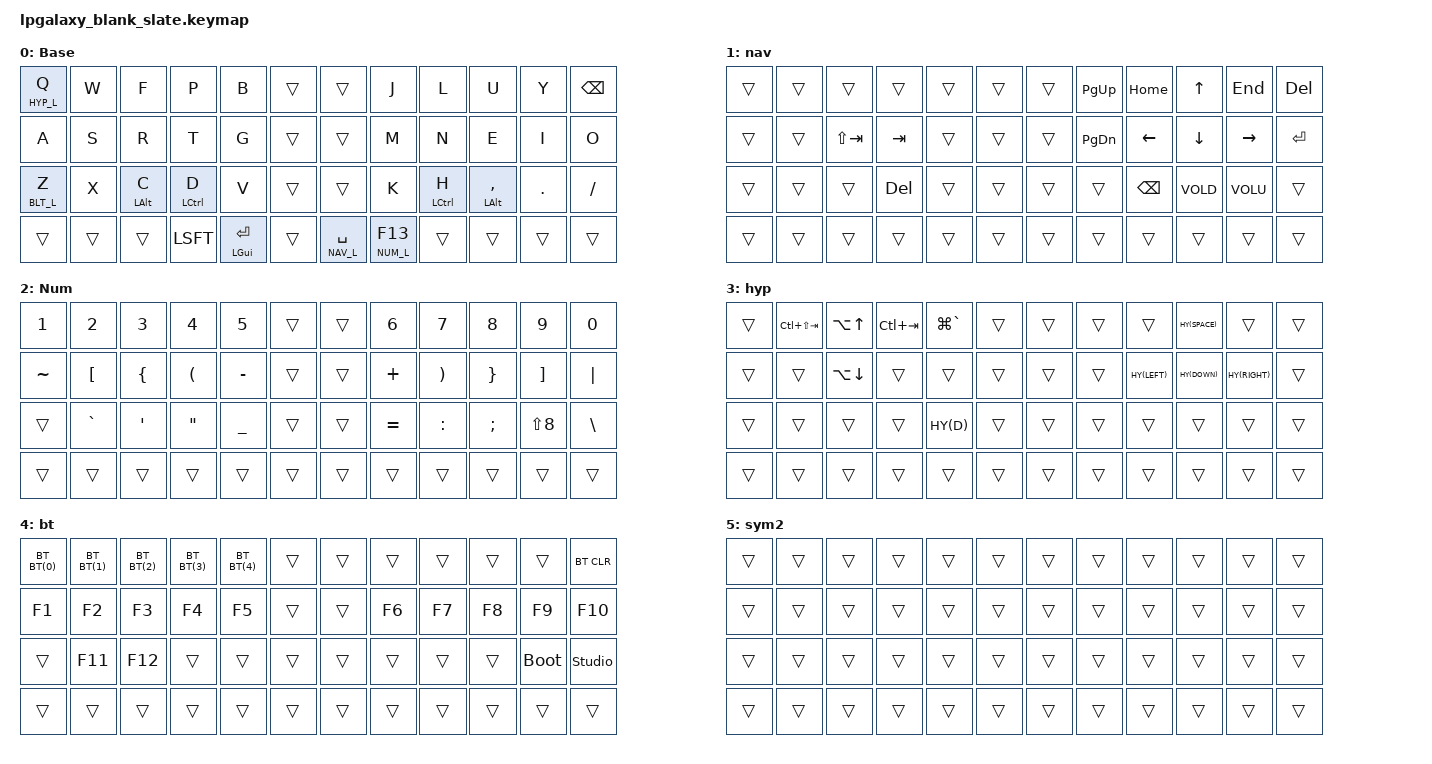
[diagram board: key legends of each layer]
/*
 *
 * TOMS KEYMAP

# https://github.com/pandrr/blank-slate-zmk-config

 */

#include <behaviors.dtsi>
#include <dt-bindings/zmk/keys.h>
#include <dt-bindings/zmk/bt.h>
#include <dt-bindings/zmk/outputs.h>

//#define TBLE_ORTHO   1
#define TBLE_MIT     1
//#define TBLE_DUAL_2U 1

#define NAV_L 1
#define NUM_L 2
#define HYP_L 3
#define BLT_L 4

// Using layer taps on thumbs, having quick tap as well helps w/ repeating space/backspace
&lt { 
    quick_tap_ms = <150>; 
    tapping-term-ms = <200>; 
    require-prior-idle-ms = <125>;
    flavor = "hold-preferred";
};
&mt { 
    quick_tap_ms = <150>; 
    tapping-term-ms = <200>; 
    require-prior-idle-ms = <125>;
    flavor = "hold-preferred";
};

#define BT(n) BT_SEL n
#define HY(k) LG(LC(LA(LS(k))))  

/ {


    combos {
        compatible = "zmk,combos";
        combo_tab {
            timeout-ms = <50>;
            key-positions = <1 3>;
            bindings = <&kp TAB>;
        };
        combo_esc {
            timeout-ms = <50>;
            key-positions = <2 3>;
            bindings = <&kp ESC>;
        };
        combo_lgui_lalt {
            timeout-ms = <50>;
            key-positions = <8 31>;
            bindings = <&sk LG(LALT)>;
        };
        combo_lgui_lsft {
            timeout-ms = <50>;
            key-positions = <8 19>;
            bindings = <&sk LG(LSFT)>;
        };
    };


    chosen {
        zmk,physical-layout =
            #ifdef TBLE_DUAL_2U
               &layout_ortho_4x12_2x2u;
            #elif defined(TBLE_MIT)
               &layout_ortho_4x12_1x2u;
            #else
               &layout_ortho_4x12_all1u;
            #endif
    };

    



    keymap {
        compatible = "zmk,keymap";

        base_layer {
            label = "Base";
            bindings = <

            &lt HYP_L Q  &kp W   &kp F   &kp P         &kp B          &trans   &trans  &kp J            &kp L       &kp U       &kp Y      &kp BKSP
            &kp A        &kp S   &kp R   &kp T         &kp G          &trans   &trans  &kp M            &kp N       &kp E       &kp I      &kp O 
            &lt BLT_L Z  &kp X   &mt LALT C   &mt LCTL D         &kp V          &trans   &trans  &kp K            &mt LCTL H          &mt LALT COMMA   &kp DOT    &kp SLASH      
            &trans       &trans  &trans  &kp LSFT  &mt LGUI RET   &trans           &lt NAV_L SPACE  &lt NUM_L F13  &trans &trans   &trans &trans

            >;
        };

        nav_layer {
            label = "nav";
            bindings = <

            &trans  &trans   &trans     &trans   &trans   &trans  &trans  &kp PG_UP  &kp HOME   &kp UP    &kp END    &kp DEL  
            &trans  &trans   &kp LS(TAB) &kp TAB  &trans   &trans  &trans  &kp PG_DN  &kp LEFT   &kp DOWN  &kp RIGHT  &kp RET   
            &trans  &trans   &trans     &kp DEL  &trans   &trans  &trans  &trans     &kp BKSP   &kp VOLD    &kp VOLU     &trans   
            &trans  &trans   &trans     &trans   &trans   &trans  &trans  &trans     &trans     &trans    &trans     &trans

            >;
        };


        //   Q   W   F   P   B          J   L   U   Y   :
        // 
        //   1   2   3   4   5  XX XX   6   7   8   9   0   
        //   ~   [   {   (   -  XX XX   +   )   }   ]   |   
        //   ??  `   '   "   _  XX XX   =   :   ;   .   \   
        // 
        num_layer {
            label = "Num";
            bindings = <

            &kp N1     &kp N2     &kp N3     &kp N4     &kp N5     &trans  &trans  &kp N6     &kp N7     &kp N8     &kp N9     &kp N0     
            &kp TILDE  &kp LBKT   &kp LBRC   &kp LPAR   &kp MINUS  &trans  &trans  &kp PLUS   &kp RPAR   &kp RBRC   &kp RBKT   &kp PIPE    
            &trans     &kp GRAVE  &kp SQT    &kp DQT    &kp UNDER  &trans  &trans  &kp EQUAL  &kp COLON  &kp SEMI   &kp LS(N8)    &kp BSLH
            &trans     &trans     &trans     &trans     &trans     &trans  &trans  &trans     &trans     &trans     &trans    &trans 
            >;
        };


        hyp_layer {
            label = "hyp";
            bindings = <
&trans    &kp LC(LS(TAB))  &kp LA(UP)  &kp LC(TAB)  &kp LG(GRAVE)  &trans  &trans  &trans   &trans         &kp HY(SPACE)   &trans          &trans   
&trans    &trans           &kp LA(DOWN)  &trans       &trans         &trans  &trans  &trans   &kp HY(LEFT)   &kp HY(DOWN)    &kp HY(RIGHT)   &trans   
&trans    &trans           &trans  &trans       &kp HY(D)      &trans  &trans  &trans   &trans         &trans          &trans          &trans   
&trans    &trans           &trans  &trans       &trans         &trans  &trans  &trans   &trans         &trans          &trans     &trans

            >;
        };    




        bt_layer {
            label = "bt";
            bindings = <
&bt BT(0)  &bt BT(1)  &bt BT(2)  &bt BT(3)  &bt BT(4) &trans   &trans  &trans  &trans  &trans  &trans   &bt BT_CLR
&kp F1     &kp F2     &kp F3     &kp F4     &kp F5 &trans &trans     &kp F6  &kp F7  &kp F8  &kp F9  &kp F10  
&trans  &kp F11    &kp F12    &trans     &trans     &trans     &trans  &trans  &trans  &trans  &bootloader   &studio_unlock
&trans  &trans     &trans     &trans     &trans     &trans     &trans  &trans  &trans  &trans  &trans   &trans

            >;
        };


        sym2_layer {
            label = "sym2";
            bindings = <
&trans  &trans     &trans     &trans     &trans     &trans     &trans  &trans  &trans  &trans  &trans   &trans
&trans  &trans     &trans     &trans     &trans     &trans     &trans  &trans  &trans  &trans  &trans   &trans
&trans  &trans     &trans     &trans     &trans     &trans     &trans  &trans  &trans  &trans  &trans   &trans
&trans  &trans     &trans     &trans     &trans     &trans     &trans  &trans  &trans  &trans  &trans   &trans
            >;
        };



    };
};

